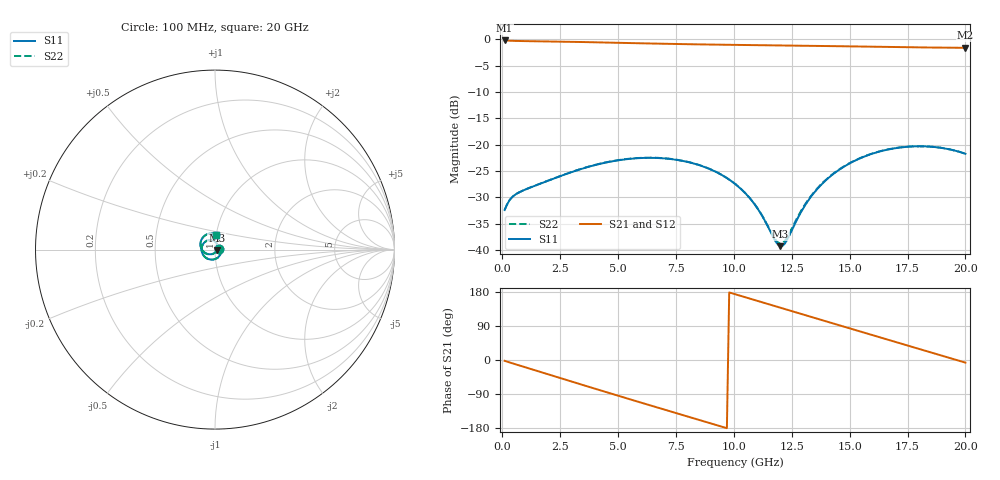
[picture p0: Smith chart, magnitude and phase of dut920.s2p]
! Touchstone file exported from HFSS 2026.1.0
!  File:  C:/ffzhzh/LocalFiles/Ansys_Project_Files/temp_train_TSV_RDL_920_1783279181_38704.aedt
!  Generated:  03:26:44 AM Jul  6, 2026
!  Design:  TSV_RDL
!  Project:  temp_train_TSV_RDL_920_1783279181_38704
! Variables:
!  h_bsmrdl = 3.99um
!  h_ox = 20um
!  h_rdl = 5um
!  h_sub = 78.46um
!  h_tmrdl = 4.03um
!  h_tsv = 78.46um
!  h_via = 3um
!  l_bsmrdl = 798.98um
!  l_sub = 5968.06um
!  l_tmrdl = 760.35um
!  m_sub = 200um
!  pitch = 26.94um
!  r_tsv = 12.17um
!  s_tmrdl = 10um
!  w_bsmrdl = 21.38um
!  w_sub = 500um
!  w_tmrdl = 21.86um
!  x_tsv_center1 = 771.28um
!  x_tsv_center2 = 1591.64um
!  x_tsv_center3 = 2373.85um
!  x_tsv_center4 = 3194.21um
!  x_tsv_center5 = 3976.42um
!  x_tsv_center6 = 4796.78um
# GHz S MA R 50.000000
! Terminal data exported
! Port[1] = TM_RDL1_1_T1
! Port[2] = TM_RDL5_1_T1
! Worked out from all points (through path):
!   200 points, 100 MHz to 20 GHz, reference 50 ohm
!   highest |S21| = -0.21 dB at 100 MHz (marker M1); lowest = -1.6 dB at 20 GHz (marker M2)
!   group delay of S21, straight-line fit = 50.8 ps
!   lowest |S11| = -39.3 dB at 12 GHz (marker M3), VSWR 1.02, Z = 51 - j0.48 ohm
!   |S11| at or under -10 dB: start of sweep to end of sweep
!   |S22| runs from -38.8 to -20.3 dB; largest |S21 - S12| = 1.6e-14
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0.1  0.02397 5.4  0.9762 -2.2  0.9762 -2.2  0.02397 5.4
! Gamma 0 0 0 0
! Port Impedance 50 0 50 0
0.5  0.0328 -7.1  0.967 -9.9  0.967 -9.9  0.03282 -7.1
1.7  0.0431 -55.2  0.9574 -32.5  0.9574 -32.5  0.04319 -55.2
2.6  0.05116 -84.6  0.9508 -49.5  0.9508 -49.5  0.05132 -84.6
3.5  0.0596 -110.7  0.9429 -66.4  0.9429 -66.4  0.05983 -110.6
4.3  0.06637 -132.2  0.935 -81.3  0.935 -81.3  0.06664 -132.1
5.1  0.07156 -152.7  0.9267 -96.1  0.9267 -96.1  0.07187 -152.6
5.9  0.07452 -172.4  0.9184 -110.8  0.9184 -110.8  0.07482 -172.3
6.8  0.07455 165.9  0.9096 -127.3  0.9096 -127.3  0.07484 166.0
8.5  0.06395 125.7  0.8956 -158.2  0.8956 -158.2  0.06413 125.7
9.3  0.05414 106.3  0.8904 -172.7  0.8904 -172.7  0.05425 106.1
10.1  0.0416 85.4  0.8859 172.8  0.8859 172.8  0.04167 85.0
10.9  0.02707 59.8  0.8817 158.3  0.8817 158.3  0.02716 58.9
11.8  0.01208 0.6  0.8771 141.9  0.8771 141.9  0.01254 -1.4
12  0.01087 -25.7  0.8761 138.2  0.8761 138.2  0.01148 -26.9
12.2  0.01149 -53.4  0.875 134.6  0.875 134.6  0.01219 -53.3
13.4  0.03352 -129.9  0.8682 112.7  0.8682 112.7  0.03407 -128.7
14.1  0.04857 -150.1  0.8637 99.9  0.8637 99.9  0.04908 -149.3
15  0.06638 -171.8  0.8577 83.5  0.8577 83.5  0.06684 -171.2
16.7  0.0903 151.7  0.8462 52.7  0.8462 52.7  0.09063 152.0
18.4  0.09597 117.6  0.837 22.0  0.837 22.0  0.09613 117.5
20  0.082 86.3  0.8313 -6.9  0.8313 -6.9  0.082 85.7
